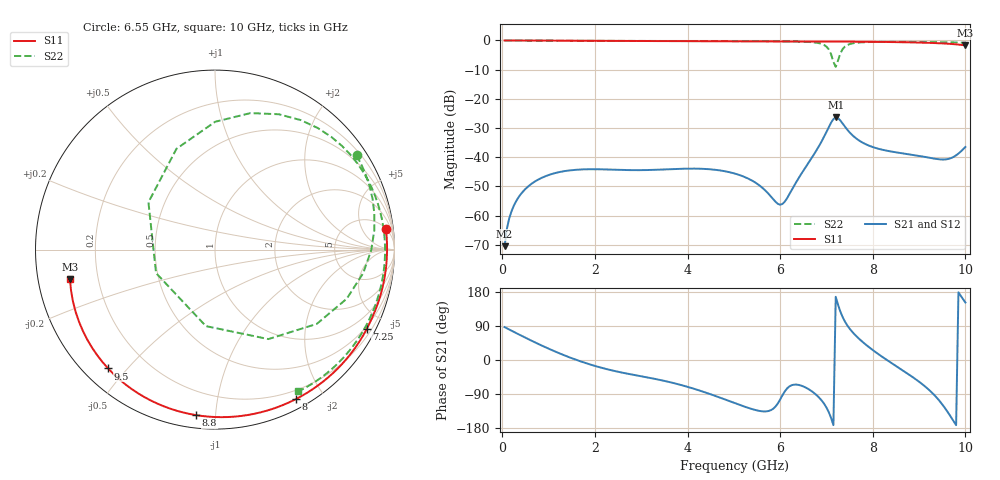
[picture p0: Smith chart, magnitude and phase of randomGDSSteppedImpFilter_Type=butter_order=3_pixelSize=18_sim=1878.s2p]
! freq	dB(S11)	phase(S11)	dB(S12)	phase(S12)
!  dB(S21)	phase(S21)	dB(S22)	phase(S22)
!S-par simulation data
#  GHz  S  DB  R 50
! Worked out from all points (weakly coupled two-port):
!   200 points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, 50 MHz to 10 GHz, reference 50 ohm
!   highest |S21| = -26.35 dB at 7.2 GHz (marker M1); lowest = -70.4 dB at 50 MHz (marker M2)
!   lowest |S11| = -1.7 dB at 10 GHz (marker M3), VSWR 10.41, Z = 4.85 - j5.01 ohm
!   |S11| at or under -10 dB: nowhere
!   |S22| runs from -9.0 to 0.0 dB; largest |S21 - S12| = 0
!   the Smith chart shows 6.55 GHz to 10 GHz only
!   S11 on the Smith chart (normalised r, x): 6.55 GHz: 5, +15; 7.25 GHz: 0.41, -4.01; 8 GHz: 0.10, -1.67; 8.8 GHz: 0.07, -0.89; 9.5 GHz: 0.07, -0.44; 10 GHz: 0.10, -0.10
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0.05  -0.00 -2.7  -70.44 86.7  -70.44 86.7  -0.00 -3.7
0.2  -0.01 -10.8  -58.44 77.2  -58.44 77.2  -0.02 -14.6
0.5  -0.03 -26.7  -50.85 58.8  -50.85 58.8  -0.05 -36.1
1.1  -0.07 -58.3  -45.59 24.5  -45.59 24.5  -0.09 -76.1
1.75  -0.11 -91.8  -44.14 -6.1  -44.14 -6.1  -0.12 -113.7
3.4  -0.21 -176.2  -44.23 -52.5  -44.23 -52.5  -0.16 170.4
4.15  -0.26 143.2  -43.89 -76.3  -43.89 -76.3  -0.19 140.2
5.05  -0.31 91.6  -45.72 -115.1  -45.72 -115.1  -0.23 104.0
6  -0.34 36.8  -56.25 -104.2  -56.25 -104.2  -0.30 63.2
6.55  -0.36 7.0  -43.40 -72.6  -43.40 -72.6  -0.47 33.6
6.7  -0.37 -0.8  -39.77 -84.0  -39.77 -84.0  -0.62 22.4
7  -0.39 -15.8  -31.33 -125.5  -31.33 -125.5  -2.12 -20.5
7.1  -0.40 -20.7  -28.14 -153.0  -28.14 -153.0  -4.72 -59.2
7.2  -0.41 -25.4  -26.35 166.9  -26.35 166.9  -9.03 -158.3
7.25  -0.41 -27.7  -26.59 145.9  -26.59 145.9  -6.84 144.6
7.4  -0.41 -34.7  -29.55 101.1  -29.55 101.1  -2.09 75.4
7.65  -0.43 -46.1  -33.65 62.3  -33.65 62.3  -0.79 39.3
8  -0.47 -61.6  -36.51 26.2  -36.51 26.2  -0.51 15.6
8.35  -0.53 -76.8  -37.90 -3.7  -37.90 -3.7  -0.47 -1.0
8.8  -0.65 -96.6  -39.02 -39.9  -39.02 -39.9  -0.49 -18.9
9.5  -1.01 -132.0  -40.77 -117.0  -40.77 -117.0  -0.61 -43.4
10  -1.67 -168.4  -36.49 151.7  -36.49 151.7  -0.76 -59.6
